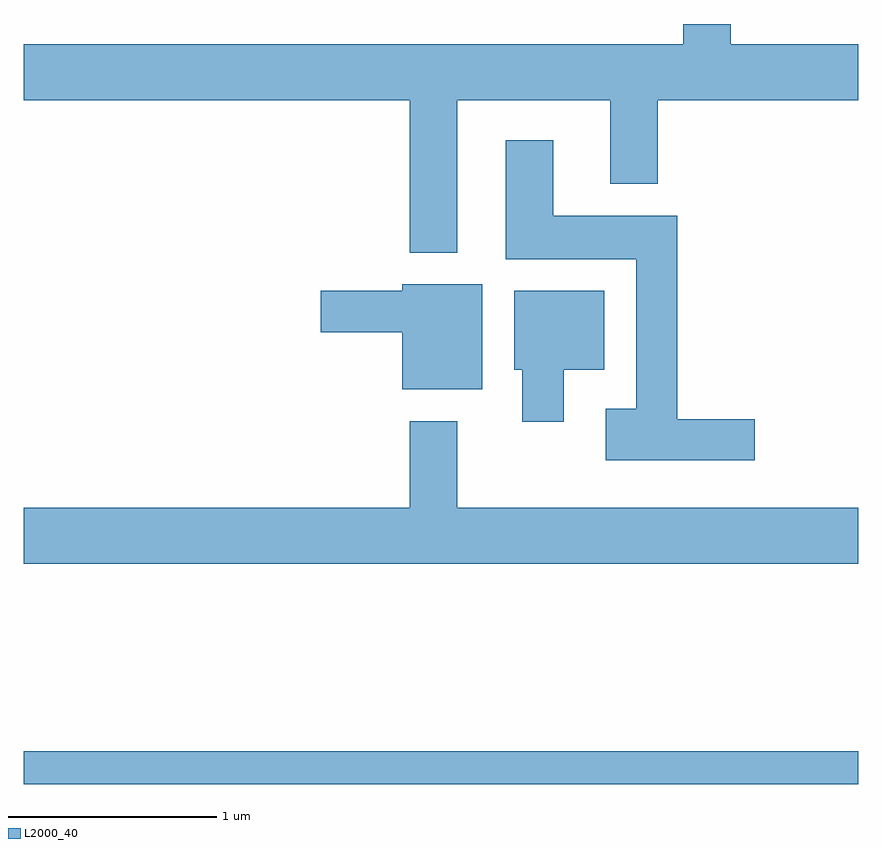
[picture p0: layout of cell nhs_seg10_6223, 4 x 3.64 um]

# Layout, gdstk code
import gdstk
lib = gdstk.Library(unit=1e-6, precision=1e-09)
def R(c, l, rs):  # rectangles x0, y0, x1, y1
    for r in rs: c.add(gdstk.rectangle(r[:2], r[2:], *l))
def P(c, l, *ps):  # polygons
    for p in ps: c.add(gdstk.Polygon(p, *l))
L2000_40 = (2000, 40)

nhs_seg10_6223 = lib.new_cell('nhs_seg10_6223')
R(nhs_seg10_6223, L2000_40, [(369.611,2092.881,373.611,2093.039)])
P(nhs_seg10_6223, L2000_40, [(371.689,2096.156),(372.421,2096.156),(372.421,2095.756),(372.649,2095.756),(372.649,2096.156),(373.611,2096.156),(373.611,2096.424),(372.999,2096.424),(372.999,2096.522),(372.771,2096.522),(372.771,2096.424),(369.611,2096.424),(369.611,2096.156),(371.461,2096.156),(371.461,2095.426),(371.689,2095.426)],
  [(373.114,2094.629),(372.744,2094.629),(372.744,2095.604),(372.149,2095.604),(372.149,2095.964),(371.921,2095.964),(371.921,2095.396),(372.546,2095.396),(372.546,2094.679),(372.401,2094.679),(372.401,2094.431),(373.114,2094.431)],
  [(371.809,2095.274),(371.426,2095.274),(371.426,2095.244),(371.036,2095.244),(371.036,2095.046),(371.426,2095.046),(371.426,2094.771),(371.809,2094.771)],
  [(372.199,2094.866),(372.394,2094.866),(372.394,2095.244),(371.961,2095.244),(371.961,2094.866),(372.001,2094.866),(372.001,2094.616),(372.199,2094.616)],
  [(373.611,2094.204),(371.689,2094.204),(371.689,2094.619),(371.461,2094.619),(371.461,2094.204),(369.611,2094.204),(369.611,2093.936),(373.611,2093.936)])

lib.write_gds('nhs_seg10_6223.gds')
